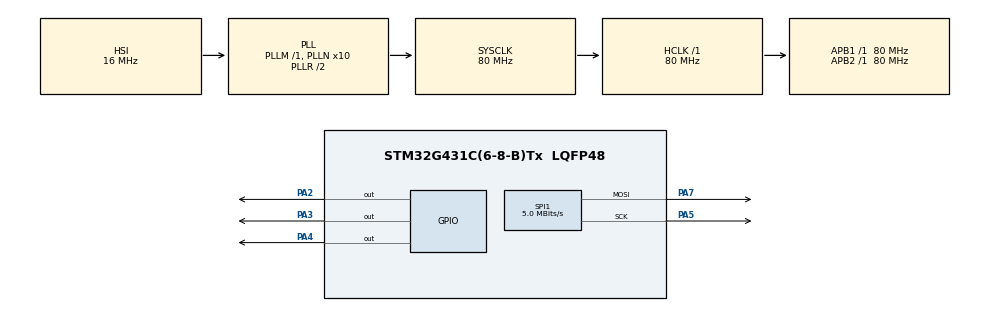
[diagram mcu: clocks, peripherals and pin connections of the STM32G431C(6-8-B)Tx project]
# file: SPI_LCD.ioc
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Mcu.Family=STM32G4
Mcu.Name=STM32G431C(6-8-B)Tx
Mcu.Package=LQFP48
NVIC.PriorityGroup=NVIC_PRIORITYGROUP_4
PA13.Mode=Serial_Wire
PA13.Signal=SYS_JTMS-SWDIO
PA14.Mode=Serial_Wire
PA14.Signal=SYS_JTCK-SWCLK
PA2.GPIO_PuPd=GPIO_PULLUP
PA2.Signal=GPIO_Output
PA3.GPIO_PuPd=GPIO_PULLUP
PA3.Signal=GPIO_Output
PA4.GPIO_PuPd=GPIO_PULLUP
PA4.Signal=GPIO_Output
PA5.Mode=TX_Only_Simplex_Unidirect_Master
PA5.Signal=SPI1_SCK
PA7.Mode=TX_Only_Simplex_Unidirect_Master
PA7.Signal=SPI1_MOSI
PF0-OSC_IN.Mode=HSE-External-Oscillator
PF0-OSC_IN.Signal=RCC_OSC_IN
PF1-OSC_OUT.Mode=HSE-External-Oscillator
PF1-OSC_OUT.Signal=RCC_OSC_OUT
ProjectManager.HeapSize=0x200
ProjectManager.StackSize=0x400
ProjectManager.TargetToolchain=CMake
RCC.ADC12Freq_Value=80000000
RCC.AHBFreq_Value=80000000
RCC.APB1Freq_Value=80000000
RCC.APB1TimFreq_Value=80000000
RCC.APB2Freq_Value=80000000
RCC.APB2TimFreq_Value=80000000
RCC.CortexFreq_Value=80000000
RCC.EXTERNAL_CLOCK_VALUE=12288000
RCC.HCLKFreq_Value=80000000
RCC.HSE_VALUE=8000000
RCC.HSI48_VALUE=48000000
RCC.HSI_VALUE=16000000
RCC.LSE_VALUE=32768
RCC.PLLN=10
RCC.SYSCLKFreq_VALUE=80000000
RCC.SYSCLKSource=RCC_SYSCLKSOURCE_PLLCLK
RCC.USBFreq_Value=80000000
RCC.VCOOutputFreq_Value=160000000
SPI1.BaudRatePrescaler=SPI_BAUDRATEPRESCALER_16
SPI1.CLKPhase=SPI_PHASE_2EDGE
SPI1.CLKPolarity=SPI_POLARITY_HIGH
SPI1.CalculateBaudRate=5.0 MBits/s
SPI1.DataSize=SPI_DATASIZE_8BIT
SPI1.Direction=SPI_DIRECTION_2LINES
SPI1.Mode=SPI_MODE_MASTER
SPI1.VirtualType=VM_MASTER
VP_SYS_VS_DBSignals.Mode=DisableDeadBatterySignals
board=custom

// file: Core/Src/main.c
/* USER CODE BEGIN Header */
/**
  ******************************************************************************
  * @file           : main.c
  * @brief          : Main program body
  ******************************************************************************
  * @attention
  *
  * Copyright (c) 2025 STMicroelectronics.
  * All rights reserved.
  *
  * This software is licensed under terms that can be found in the LICENSE file
  * in the root directory of this software component.
  * If no LICENSE file comes with this software, it is provided AS-IS.
  *
  ******************************************************************************
  */
/* USER CODE END Header */
#include "main.h"
#include "spi.h"
#include "gpio.h"

/* USER CODE BEGIN Includes */
#include "st7789.h"
#include "myimage1.h"
#include "myimage2.h"
#include "myimage3.h"
/* USER CODE END Includes */

void SystemClock_Config(void);
/* USER CODE BEGIN PFP */
void ST7789_ShowMyImage(void);  // 声明你的函数
/* USER CODE END PFP */

int main(void) {

  /* MCU Configuration--------------------------------------------------------*/

  /* Reset of all peripherals, Initializes the Flash interface and the Systick. */
  HAL_Init();

  /* Configure the system clock */
  SystemClock_Config();

  /* Initialize all configured peripherals */
  MX_GPIO_Init();
  MX_SPI1_Init();
  /* USER CODE BEGIN 2 */
  ST7789_Init();
  /* USER CODE END 2 */

  /* Infinite loop */
  while (1)
  {
    ST7789_ShowMyImage();                      // ← 调用显示图片函数
    HAL_Delay(3000000);

  }
}

void SystemClock_Config(void)
{
  RCC_OscInitTypeDef RCC_OscInitStruct = {0};
  RCC_ClkInitTypeDef RCC_ClkInitStruct = {0};

  /** Configure the main internal regulator output voltage
  */
  HAL_PWREx_ControlVoltageScaling(PWR_REGULATOR_VOLTAGE_SCALE1);

  /** Initializes the RCC Oscillators according to the specified parameters
  * in the RCC_OscInitTypeDef structure.
  */
  RCC_OscInitStruct.OscillatorType = RCC_OSCILLATORTYPE_HSI;
  RCC_OscInitStruct.HSIState = RCC_HSI_ON;
  RCC_OscInitStruct.HSICalibrationValue = RCC_HSICALIBRATION_DEFAULT;
  RCC_OscInitStruct.PLL.PLLState = RCC_PLL_ON;
  RCC_OscInitStruct.PLL.PLLSource = RCC_PLLSOURCE_HSI;
  RCC_OscInitStruct.PLL.PLLM = RCC_PLLM_DIV1;
  RCC_OscInitStruct.PLL.PLLN = 10;
  RCC_OscInitStruct.PLL.PLLP = RCC_PLLP_DIV2;
  RCC_OscInitStruct.PLL.PLLQ = RCC_PLLQ_DIV2;
  RCC_OscInitStruct.PLL.PLLR = RCC_PLLR_DIV2;
  if (HAL_RCC_OscConfig(&RCC_OscInitStruct) != HAL_OK)
  {
    Error_Handler();
  }

  /** Initializes the CPU, AHB and APB buses clocks
  */
  RCC_ClkInitStruct.ClockType = RCC_CLOCKTYPE_HCLK|RCC_CLOCKTYPE_SYSCLK
                              |RCC_CLOCKTYPE_PCLK1|RCC_CLOCKTYPE_PCLK2;
  RCC_ClkInitStruct.SYSCLKSource = RCC_SYSCLKSOURCE_PLLCLK;
  RCC_ClkInitStruct.AHBCLKDivider = RCC_SYSCLK_DIV1;
  RCC_ClkInitStruct.APB1CLKDivider = RCC_HCLK_DIV1;
  RCC_ClkInitStruct.APB2CLKDivider = RCC_HCLK_DIV1;

  if (HAL_RCC_ClockConfig(&RCC_ClkInitStruct, FLASH_LATENCY_2) != HAL_OK)
  {
    Error_Handler();
  }
}

/* USER CODE BEGIN 4 */
void ST7789_ShowMyImage(void)
{
  // 1. 清屏
  ST7789_Fill_Color(WHITE);

  // 2. 显示文字
  ST7789_WriteString(10, 10, "My Image", Font_16x26, BLACK, WHITE);
  HAL_Delay(1000);

  // 3. 显示图片
  //   居中显示
  uint16_t img_width = 188;
  uint16_t img_height = 220;
  uint16_t x_pos = (ST7789_WIDTH - img_width) / 2;
  uint16_t y_pos = (ST7789_HEIGHT - img_height) / 2;

  ST7789_DrawImage(x_pos, y_pos, img_width, img_height, (uint16_t *)myimage2);

  // 4. 显示一段时间
  HAL_Delay(30000000);
  /* USER CODE END 4 */
}

void Error_Handler(void)
{
  __disable_irq();
  while (1)
  {
  }
}
